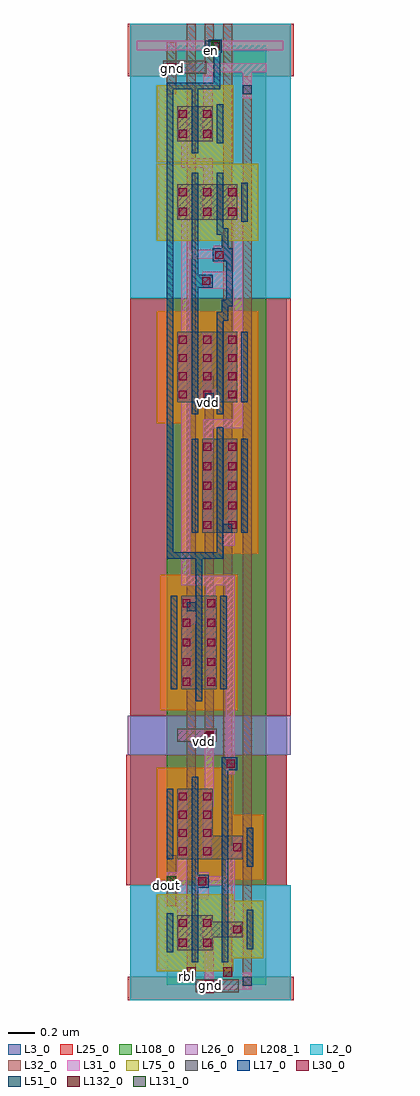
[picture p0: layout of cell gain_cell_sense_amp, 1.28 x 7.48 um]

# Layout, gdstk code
from math import pi, radians
import gdstk
lib = gdstk.Library(unit=1e-6, precision=1e-09)
def R(c, l, rs):  # rectangles x0, y0, x1, y1
    for r in rs: c.add(gdstk.rectangle(r[:2], r[2:], *l))
def A(c, l, x, y, w, h, nx, ny, dx, dy):  # array of equal rectangles
    R(c, l, [(x+i*dx, y+j*dy, x+i*dx+w, y+j*dy+h) for i in range(nx) for j in range(ny)])
L2_0 = (2, 0)
L3_0 = (3, 0)
L6_0 = (6, 0)
L17_0 = (17, 0)
L25_0 = (25, 0)
L26_0 = (26, 0)
L30_0 = (30, 0)
L31_0 = (31, 0)
L32_0 = (32, 0)
L51_0 = (51, 0)
L75_0 = (75, 0)
L108_0 = (108, 0)
L131_0 = (131, 0)
L132_0 = (132, 0)
L208_1 = (208, 1)

nch_mac_cdns_72964454724 = lib.new_cell('nch_mac_CDNS_729644547240')
R(nch_mac_cdns_72964454724, L6_0, [(-0.11,0,0,0.27), (0,0,0.05,0.27), (0.05,0,0.16,0.27)])
R(nch_mac_cdns_72964454724, L17_0, [(0,-0.09,0.05,0), (-0.19,-0.015,-0.14,0.285), (0.19,-0.015,0.24,0.285), (0,0,0.05,0.27), (0,0.27,0.05,0.36)])
R(nch_mac_cdns_72964454724, L26_0, [(-0.3,-0.2,-0.24,0.47), (-0.24,-0.2,0.29,0.47), (0.29,-0.2,0.35,0.47)])
R(nch_mac_cdns_72964454724, L30_0, [(-0.1,0.03,-0.04,0.09), (0.09,0.03,0.15,0.09), (-0.1,0.18,-0.04,0.24), (0.09,0.18,0.15,0.24)])
R(nch_mac_cdns_72964454724, L31_0, [(-0.105,0,-0.035,0.27), (0.085,0,0.155,0.27)])
R(nch_mac_cdns_72964454724, L75_0, [(-0.27,-0.16,0.32,0.43)])
R(nch_mac_cdns_72964454724, L208_1, [(-0.27,-0.16,0.32,0.43)])
nch_mac_cdns_72964454724.add(gdstk.Label('& SerialNumber 000000', (0,0), layer=63, texttype=63))
nch_mac_cdns_72964454724.add(gdstk.Label('& Distributor TSMC', (0,0), layer=63, texttype=63))
nch_mac_cdns_72964454724.add(gdstk.Label('& Metric 1', (0,0), layer=63, texttype=63))
nch_mac_cdns_72964454724.add(gdstk.Label('& PDK Version "tsmcN40_CRN40ULP_v1.5_2b_20200409"', (0,0), layer=63, texttype=63))
nch_mac_cdns_72964454724.add(gdstk.Label('& PDK TechNode "CRN40ULP"', (0,0), layer=63, texttype=63))
nch_mac_cdns_72964454724.add(gdstk.Label('& Product    tsmcN40_PDK', (0,0), layer=63, texttype=63))
nch_mac_cdns_72964454724.add(gdstk.Label('& Vendor     Taiwan Semiconductor manufacturing Corp.', (0,0), layer=63, texttype=63))
nch_mac_cdns_72964454724.add(gdstk.Label('[@instanceName]', (0.025,0.135), layer=127, texttype=0))
nch_mac_cdns_72964454724.add(gdstk.Label('0.27/0.05', (0,0), layer=127, texttype=0))
nch_mac_cdns_72964454724.add(gdstk.Label('nch_mac', (0,0.045), layer=127, texttype=0))
nch_mac_cdns_72964454724.add(gdstk.Label('D', (0.12,0.135), layer=127, texttype=0))
nch_mac_cdns_72964454724.add(gdstk.Label('S', (-0.07,0.135), layer=127, texttype=0))

pch_mac_cdns_72964454724 = lib.new_cell('pch_mac_CDNS_729644547241')
R(pch_mac_cdns_72964454724, L3_0, [(-0.27,-0.16,0.32,0.88)])
R(pch_mac_cdns_72964454724, L6_0, [(-0.11,0,0,0.72), (0,0,0.05,0.72), (0.05,0,0.16,0.72)])
A(pch_mac_cdns_72964454724, L17_0, -0.19, 0, 0.05, 0.72, 3, 1, 0.19, 0)
R(pch_mac_cdns_72964454724, L17_0, [(0,-0.09,0.05,0), (0,0.72,0.05,0.81)])
R(pch_mac_cdns_72964454724, L25_0, [(-0.3,-0.2,-0.24,0.92), (-0.24,-0.2,0.29,0.92), (0.29,-0.2,0.35,0.92)])
A(pch_mac_cdns_72964454724, L30_0, -0.1, 0.03, 0.06, 0.06, 1, 5, 0, 0.15)
A(pch_mac_cdns_72964454724, L30_0, 0.09, 0.03, 0.06, 0.06, 1, 5, 0, 0.15)
R(pch_mac_cdns_72964454724, L31_0, [(-0.105,0,-0.035,0.72), (0.085,0,0.155,0.72)])
R(pch_mac_cdns_72964454724, L208_1, [(-0.27,-0.16,0.32,0.88)])
pch_mac_cdns_72964454724.add(gdstk.Label('& SerialNumber 000000', (0,0), layer=63, texttype=63))
pch_mac_cdns_72964454724.add(gdstk.Label('& Distributor TSMC', (0,0), layer=63, texttype=63))
pch_mac_cdns_72964454724.add(gdstk.Label('& Metric 1', (0,0), layer=63, texttype=63))
pch_mac_cdns_72964454724.add(gdstk.Label('& PDK Version "tsmcN40_CRN40ULP_v1.5_2b_20200409"', (0,0), layer=63, texttype=63))
pch_mac_cdns_72964454724.add(gdstk.Label('& PDK TechNode "CRN40ULP"', (0,0), layer=63, texttype=63))
pch_mac_cdns_72964454724.add(gdstk.Label('& Product    tsmcN40_PDK', (0,0), layer=63, texttype=63))
pch_mac_cdns_72964454724.add(gdstk.Label('& Vendor     Taiwan Semiconductor manufacturing Corp.', (0,0), layer=63, texttype=63))
pch_mac_cdns_72964454724.add(gdstk.Label('[@instanceName]', (0.025,0.36), layer=127, texttype=0))
pch_mac_cdns_72964454724.add(gdstk.Label('0.72/0.05', (0,0), layer=127, texttype=0))
pch_mac_cdns_72964454724.add(gdstk.Label('pch_mac', (0,0.045), layer=127, texttype=0))
pch_mac_cdns_72964454724.add(gdstk.Label('D', (0.12,0.36), layer=127, texttype=0))
pch_mac_cdns_72964454724.add(gdstk.Label('S', (-0.07,0.36), layer=127, texttype=0))

c_pch_mac_cdns_72964454724 = lib.new_cell('pch_mac_CDNS_729644547242')
R(c_pch_mac_cdns_72964454724, L3_0, [(-0.27,-0.16,0.32,0.7)])
R(c_pch_mac_cdns_72964454724, L6_0, [(-0.11,0,0,0.54), (0,0,0.05,0.54), (0.05,0,0.16,0.54)])
R(c_pch_mac_cdns_72964454724, L17_0, [(0,-0.09,0.05,0), (0,0,0.05,0.54), (0.19,0,0.24,0.54), (0,0.54,0.05,0.63)])
R(c_pch_mac_cdns_72964454724, L25_0, [(-0.24,-0.2,0.29,0.74), (0.29,-0.2,0.35,0.74)])
A(c_pch_mac_cdns_72964454724, L30_0, -0.1, 0.03, 0.06, 0.06, 1, 4, 0, 0.14)
A(c_pch_mac_cdns_72964454724, L30_0, 0.09, 0.03, 0.06, 0.06, 1, 4, 0, 0.14)
R(c_pch_mac_cdns_72964454724, L31_0, [(-0.105,0,-0.035,0.54), (0.085,0,0.155,0.54)])
R(c_pch_mac_cdns_72964454724, L208_1, [(-0.27,-0.16,0.32,0.7)])
c_pch_mac_cdns_72964454724.add(gdstk.Label('& SerialNumber 000000', (0,0), layer=63, texttype=63))
c_pch_mac_cdns_72964454724.add(gdstk.Label('& Distributor TSMC', (0,0), layer=63, texttype=63))
c_pch_mac_cdns_72964454724.add(gdstk.Label('& Metric 1', (0,0), layer=63, texttype=63))
c_pch_mac_cdns_72964454724.add(gdstk.Label('& PDK Version "tsmcN40_CRN40ULP_v1.5_2b_20200409"', (0,0), layer=63, texttype=63))
c_pch_mac_cdns_72964454724.add(gdstk.Label('& PDK TechNode "CRN40ULP"', (0,0), layer=63, texttype=63))
c_pch_mac_cdns_72964454724.add(gdstk.Label('& Product    tsmcN40_PDK', (0,0), layer=63, texttype=63))
c_pch_mac_cdns_72964454724.add(gdstk.Label('& Vendor     Taiwan Semiconductor manufacturing Corp.', (0,0), layer=63, texttype=63))
c_pch_mac_cdns_72964454724.add(gdstk.Label('[@instanceName]', (0.025,0.27), layer=127, texttype=0))
c_pch_mac_cdns_72964454724.add(gdstk.Label('0.54/0.05', (0,0), layer=127, texttype=0))
c_pch_mac_cdns_72964454724.add(gdstk.Label('pch_mac', (0,0.045), layer=127, texttype=0))
c_pch_mac_cdns_72964454724.add(gdstk.Label('D', (0.12,0.27), layer=127, texttype=0))
c_pch_mac_cdns_72964454724.add(gdstk.Label('S', (-0.07,0.27), layer=127, texttype=0))

c_pch_mac_cdns_72964454724_ = lib.new_cell('pch_mac_CDNS_729644547243')
R(c_pch_mac_cdns_72964454724_, L3_0, [(-0.23,-0.16,0.32,0.34)])
R(c_pch_mac_cdns_72964454724_, L6_0, [(-0.07,0,0,0.18), (0,0,0.05,0.18), (0.05,0,0.16,0.18)])
R(c_pch_mac_cdns_72964454724_, L17_0, [(0,-0.09,0.05,0), (0.19,-0.06,0.24,0.24), (0,0,0.05,0.18), (0,0.18,0.05,0.27)])
R(c_pch_mac_cdns_72964454724_, L25_0, [(-0.2,-0.2,0.29,0.38), (0.29,-0.2,0.35,0.38)])
R(c_pch_mac_cdns_72964454724_, L30_0, [(0.09,0.06,0.15,0.12)])
R(c_pch_mac_cdns_72964454724_, L31_0, [(0.085,0,0.155,0.18)])
R(c_pch_mac_cdns_72964454724_, L208_1, [(-0.23,-0.16,0.32,0.34)])
c_pch_mac_cdns_72964454724_.add(gdstk.Label('& SerialNumber 000000', (0,0), layer=63, texttype=63))
c_pch_mac_cdns_72964454724_.add(gdstk.Label('& Distributor TSMC', (0,0), layer=63, texttype=63))
c_pch_mac_cdns_72964454724_.add(gdstk.Label('& Metric 1', (0,0), layer=63, texttype=63))
c_pch_mac_cdns_72964454724_.add(gdstk.Label('& PDK Version "tsmcN40_CRN40ULP_v1.5_2b_20200409"', (0,0), layer=63, texttype=63))
c_pch_mac_cdns_72964454724_.add(gdstk.Label('& PDK TechNode "CRN40ULP"', (0,0), layer=63, texttype=63))
c_pch_mac_cdns_72964454724_.add(gdstk.Label('& Product    tsmcN40_PDK', (0,0), layer=63, texttype=63))
c_pch_mac_cdns_72964454724_.add(gdstk.Label('& Vendor     Taiwan Semiconductor manufacturing Corp.', (0,0), layer=63, texttype=63))
c_pch_mac_cdns_72964454724_.add(gdstk.Label('[@instanceName]', (0.025,0.09), layer=127, texttype=0))
c_pch_mac_cdns_72964454724_.add(gdstk.Label('0.18/0.05', (0,0), layer=127, texttype=0))
c_pch_mac_cdns_72964454724_.add(gdstk.Label('pch_mac', (0,0.045), layer=127, texttype=0))
c_pch_mac_cdns_72964454724_.add(gdstk.Label('D', (0.12,0.09), layer=127, texttype=0))

c_nch_mac_cdns_72964454724 = lib.new_cell('nch_mac_CDNS_729644547244')
R(c_nch_mac_cdns_72964454724, L6_0, [(-0.11,0,0,0.27), (0,0,0.05,0.27), (0.05,0,0.16,0.27)])
R(c_nch_mac_cdns_72964454724, L17_0, [(0,-0.09,0.05,0), (0.19,-0.015,0.24,0.285), (0,0,0.05,0.27), (0,0.27,0.05,0.36)])
R(c_nch_mac_cdns_72964454724, L26_0, [(-0.24,-0.2,0.29,0.47), (0.29,-0.2,0.35,0.47)])
R(c_nch_mac_cdns_72964454724, L30_0, [(-0.1,0.03,-0.04,0.09), (0.09,0.03,0.15,0.09), (-0.1,0.18,-0.04,0.24), (0.09,0.18,0.15,0.24)])
R(c_nch_mac_cdns_72964454724, L31_0, [(-0.105,0,-0.035,0.27), (0.085,0,0.155,0.27)])
R(c_nch_mac_cdns_72964454724, L75_0, [(-0.27,-0.16,0.32,0.43)])
R(c_nch_mac_cdns_72964454724, L208_1, [(-0.27,-0.16,0.32,0.43)])
c_nch_mac_cdns_72964454724.add(gdstk.Label('& SerialNumber 000000', (0,0), layer=63, texttype=63))
c_nch_mac_cdns_72964454724.add(gdstk.Label('& Distributor TSMC', (0,0), layer=63, texttype=63))
c_nch_mac_cdns_72964454724.add(gdstk.Label('& Metric 1', (0,0), layer=63, texttype=63))
c_nch_mac_cdns_72964454724.add(gdstk.Label('& PDK Version "tsmcN40_CRN40ULP_v1.5_2b_20200409"', (0,0), layer=63, texttype=63))
c_nch_mac_cdns_72964454724.add(gdstk.Label('& PDK TechNode "CRN40ULP"', (0,0), layer=63, texttype=63))
c_nch_mac_cdns_72964454724.add(gdstk.Label('& Product    tsmcN40_PDK', (0,0), layer=63, texttype=63))
c_nch_mac_cdns_72964454724.add(gdstk.Label('& Vendor     Taiwan Semiconductor manufacturing Corp.', (0,0), layer=63, texttype=63))
c_nch_mac_cdns_72964454724.add(gdstk.Label('[@instanceName]', (0.025,0.135), layer=127, texttype=0))
c_nch_mac_cdns_72964454724.add(gdstk.Label('0.27/0.05', (0,0), layer=127, texttype=0))
c_nch_mac_cdns_72964454724.add(gdstk.Label('nch_mac', (0,0.045), layer=127, texttype=0))
c_nch_mac_cdns_72964454724.add(gdstk.Label('D', (0.12,0.135), layer=127, texttype=0))
c_nch_mac_cdns_72964454724.add(gdstk.Label('S', (-0.07,0.135), layer=127, texttype=0))

c_nch_mac_cdns_72964454724_ = lib.new_cell('nch_mac_CDNS_729644547245')
R(c_nch_mac_cdns_72964454724_, L6_0, [(-0.07,0,0,0.12), (0,0,0.05,0.12), (0.05,0,0.16,0.12)])
R(c_nch_mac_cdns_72964454724_, L17_0, [(0,-0.09,0.05,0), (0.19,-0.09,0.24,0.21), (0,0,0.05,0.12), (0,0.12,0.05,0.21)])
R(c_nch_mac_cdns_72964454724_, L26_0, [(-0.2,-0.2,0.29,0.32), (0.29,-0.2,0.35,0.32)])
R(c_nch_mac_cdns_72964454724_, L30_0, [(0.09,0.03,0.15,0.09)])
R(c_nch_mac_cdns_72964454724_, L31_0, [(0.085,0,0.155,0.12)])
R(c_nch_mac_cdns_72964454724_, L75_0, [(-0.23,-0.16,0.32,0.28)])
R(c_nch_mac_cdns_72964454724_, L208_1, [(-0.23,-0.16,0.32,0.28)])
c_nch_mac_cdns_72964454724_.add(gdstk.Label('& SerialNumber 000000', (0,0), layer=63, texttype=63))
c_nch_mac_cdns_72964454724_.add(gdstk.Label('& Distributor TSMC', (0,0), layer=63, texttype=63))
c_nch_mac_cdns_72964454724_.add(gdstk.Label('& Metric 1', (0,0), layer=63, texttype=63))
c_nch_mac_cdns_72964454724_.add(gdstk.Label('& PDK Version "tsmcN40_CRN40ULP_v1.5_2b_20200409"', (0,0), layer=63, texttype=63))
c_nch_mac_cdns_72964454724_.add(gdstk.Label('& PDK TechNode "CRN40ULP"', (0,0), layer=63, texttype=63))
c_nch_mac_cdns_72964454724_.add(gdstk.Label('& Product    tsmcN40_PDK', (0,0), layer=63, texttype=63))
c_nch_mac_cdns_72964454724_.add(gdstk.Label('& Vendor     Taiwan Semiconductor manufacturing Corp.', (0,0), layer=63, texttype=63))
c_nch_mac_cdns_72964454724_.add(gdstk.Label('[@instanceName]', (0.025,0.06), layer=127, texttype=0))
c_nch_mac_cdns_72964454724_.add(gdstk.Label('0.12/0.05', (0,0), layer=127, texttype=0))
c_nch_mac_cdns_72964454724_.add(gdstk.Label('nch_mac', (0,0.045), layer=127, texttype=0))
c_nch_mac_cdns_72964454724_.add(gdstk.Label('D', (0.12,0.06), layer=127, texttype=0))

c_nch_mac_cdns_72964454724__ = lib.new_cell('nch_mac_CDNS_729644547246')
R(c_nch_mac_cdns_72964454724__, L6_0, [(-0.03,0,0,0.27), (0,0,0.05,0.27), (0.05,0,0.16,0.27)])
R(c_nch_mac_cdns_72964454724__, L17_0, [(0,-0.09,0.05,0), (0.19,-0.015,0.24,0.285), (0,0,0.05,0.27), (0,0.27,0.05,0.36)])
R(c_nch_mac_cdns_72964454724__, L26_0, [(-0.16,-0.2,0.29,0.47), (0.29,-0.2,0.35,0.47)])
R(c_nch_mac_cdns_72964454724__, L30_0, [(0.09,0.03,0.15,0.09), (0.09,0.18,0.15,0.24)])
R(c_nch_mac_cdns_72964454724__, L31_0, [(0.085,0,0.155,0.27)])
R(c_nch_mac_cdns_72964454724__, L75_0, [(-0.19,-0.16,0.32,0.43)])
R(c_nch_mac_cdns_72964454724__, L208_1, [(-0.19,-0.16,0.32,0.43)])
c_nch_mac_cdns_72964454724__.add(gdstk.Label('& SerialNumber 000000', (0,0), layer=63, texttype=63))
c_nch_mac_cdns_72964454724__.add(gdstk.Label('& Distributor TSMC', (0,0), layer=63, texttype=63))
c_nch_mac_cdns_72964454724__.add(gdstk.Label('& Metric 1', (0,0), layer=63, texttype=63))
c_nch_mac_cdns_72964454724__.add(gdstk.Label('& PDK Version "tsmcN40_CRN40ULP_v1.5_2b_20200409"', (0,0), layer=63, texttype=63))
c_nch_mac_cdns_72964454724__.add(gdstk.Label('& PDK TechNode "CRN40ULP"', (0,0), layer=63, texttype=63))
c_nch_mac_cdns_72964454724__.add(gdstk.Label('& Product    tsmcN40_PDK', (0,0), layer=63, texttype=63))
c_nch_mac_cdns_72964454724__.add(gdstk.Label('& Vendor     Taiwan Semiconductor manufacturing Corp.', (0,0), layer=63, texttype=63))
c_nch_mac_cdns_72964454724__.add(gdstk.Label('[@instanceName]', (0.025,0.135), layer=127, texttype=0))
c_nch_mac_cdns_72964454724__.add(gdstk.Label('0.27/0.05', (0,0), layer=127, texttype=0))
c_nch_mac_cdns_72964454724__.add(gdstk.Label('nch_mac', (0,0.045), layer=127, texttype=0))
c_nch_mac_cdns_72964454724__.add(gdstk.Label('D', (0.12,0.135), layer=127, texttype=0))

c_pch_mac_cdns_72964454724__ = lib.new_cell('pch_mac_CDNS_729644547247')
R(c_pch_mac_cdns_72964454724__, L3_0, [(-0.19,-0.16,0.32,0.7)])
R(c_pch_mac_cdns_72964454724__, L6_0, [(-0.03,0,0,0.54), (0,0,0.05,0.54), (0.05,0,0.16,0.54)])
R(c_pch_mac_cdns_72964454724__, L17_0, [(0,-0.09,0.05,0), (0,0,0.05,0.54), (0.19,0,0.24,0.54), (0,0.54,0.05,0.63)])
R(c_pch_mac_cdns_72964454724__, L25_0, [(-0.16,-0.2,0.29,0.74), (0.29,-0.2,0.35,0.74)])
A(c_pch_mac_cdns_72964454724__, L30_0, 0.09, 0.03, 0.06, 0.06, 1, 4, 0, 0.14)
R(c_pch_mac_cdns_72964454724__, L31_0, [(0.085,0,0.155,0.54)])
R(c_pch_mac_cdns_72964454724__, L208_1, [(-0.19,-0.16,0.32,0.7)])
c_pch_mac_cdns_72964454724__.add(gdstk.Label('& SerialNumber 000000', (0,0), layer=63, texttype=63))
c_pch_mac_cdns_72964454724__.add(gdstk.Label('& Distributor TSMC', (0,0), layer=63, texttype=63))
c_pch_mac_cdns_72964454724__.add(gdstk.Label('& Metric 1', (0,0), layer=63, texttype=63))
c_pch_mac_cdns_72964454724__.add(gdstk.Label('& PDK Version "tsmcN40_CRN40ULP_v1.5_2b_20200409"', (0,0), layer=63, texttype=63))
c_pch_mac_cdns_72964454724__.add(gdstk.Label('& PDK TechNode "CRN40ULP"', (0,0), layer=63, texttype=63))
c_pch_mac_cdns_72964454724__.add(gdstk.Label('& Product    tsmcN40_PDK', (0,0), layer=63, texttype=63))
c_pch_mac_cdns_72964454724__.add(gdstk.Label('& Vendor     Taiwan Semiconductor manufacturing Corp.', (0,0), layer=63, texttype=63))
c_pch_mac_cdns_72964454724__.add(gdstk.Label('[@instanceName]', (0.025,0.27), layer=127, texttype=0))
c_pch_mac_cdns_72964454724__.add(gdstk.Label('0.54/0.05', (0,0), layer=127, texttype=0))
c_pch_mac_cdns_72964454724__.add(gdstk.Label('pch_mac', (0,0.045), layer=127, texttype=0))
c_pch_mac_cdns_72964454724__.add(gdstk.Label('D', (0.12,0.27), layer=127, texttype=0))

gain_cell_sense_amp = lib.new_cell('gain_cell_sense_amp')
R(gain_cell_sense_amp, L2_0, [(-0.28,-0.08,0.95,0.8), (-0.28,5.3,0.95,7.4)])
R(gain_cell_sense_amp, L3_0, [(-0.28,0.8,0.92,5.3), (-0.28,0.9,0.92,5.15)])
R(gain_cell_sense_amp, L6_0, [(0.22,-0.02,0.55,0.08), (0.08,1.9,0.38,2), (-0.03,7.02,0.3,7.12)])
R(gain_cell_sense_amp, L17_0, [(0.42,0.21,0.47,0.55), (0.42,0.6,0.47,0.95), (0.22,0.78,0.32,0.88), (0.42,1.2,0.47,1.7), (0.42,1.68,0.54,1.78), (0.22,3.1,0.27,3.3), (0,3.3,0.05,6.3), (0.05,3.3,0.4,3.35), (0.38,3.3,0.43,3.5), (0.25,5.38,0.35,5.48), (0.35,5.58,0.45,5.68), (0.17,6.9,0.39,6.95), (0.36,6.9,0.41,7.26), (0.32,7.18,0.42,7.28)])
R(gain_cell_sense_amp, L25_0, [(-0.3,-0.08,0.97,0.1), (-0.31,0.8,0.79,1.8), (0.79,0.8,0.92,1.8), (-0.28,2.1,-0.08,3.12), (-0.28,2.1,-0.08,3.11), (-0.08,2.1,0.72,5.2), (0.72,2.1,0.95,5.3), (-0.28,3.1,0.77,5.3), (-0.3,7,0.97,7.4)])
R(gain_cell_sense_amp, L26_0, [(-0.28,0.1,0.59,0.2), (0.59,0.1,0.95,0.2), (-0.28,0.2,0.82,0.8), (0.82,0.2,0.95,0.8), (-0.3,1.8,0.94,2.1), (0.82,1.8,0.95,2.1), (-0.28,5.3,0.67,7), (0.67,5.3,0.95,7)])
R(gain_cell_sense_amp, L30_0, [(0.3,0,0.36,0.06), (0.24,0.8,0.3,0.86), (0.46,1.7,0.52,1.76), (0.3,1.92,0.36,1.98), (0.27,5.4,0.33,5.46), (0.37,5.6,0.43,5.66), (0.01,7.04,0.07,7.1), (0.34,7.2,0.4,7.26)])
R(gain_cell_sense_amp, L31_0, [(0.22,0,0.65,0.07), (0.29,0,0.42,0.07), (0.29,0,0.36,0.4), (0.45,0.4,0.52,1.1), (0.08,0.5,0.15,1.4), (0.22,0.7,0.32,0.9), (0,0.77,0.07,0.9), (0.07,0.77,0.08,0.9), (0.22,0.8,0.52,0.87), (0.29,1.4,0.36,2), (0.45,1.65,0.52,3.1), (0.08,1.9,0.38,2), (0.12,2.8,0.22,3.02), (0.3,2.8,0.37,3.1), (0.11,3.1,0.18,6.1), (0.13,3.1,0.52,3.17), (0.42,3.4,0.52,3.6), (0.28,4.1,0.35,4.3), (0.28,4.3,0.53,4.37), (0.51,4.3,0.58,6.1), (0.25,4.47,0.38,4.6), (0.29,4.47,0.36,4.5), (0.4,5.37,0.5,5.5), (0.36,5.57,0.43,5.7), (0.13,5.6,0.43,5.67), (0.28,6.1,0.35,6.3), (0.28,6.2,0.35,6.3), (0.11,6.3,0.18,6.6), (0.18,6.3,0.35,6.37), (0.28,6.7,0.35,7), (0.58,6.87,0.65,6.9), (-0.03,7.03,0.45,7.1), (-0.23,7.2,0.89,7.27)])
R(gain_cell_sense_amp, L32_0, [(0.29,-0.03,0.36,0.37), (0.15,0.1,0.22,2.1), (0.15,0.1,0.22,0.17), (0.43,0.1,0.5,7.4), (0.43,0.1,0.5,0.17), (0,0.64,0.07,1.03), (0.29,1.87,0.36,4.57), (0.43,3.47,0.5,3.6), (0.58,3.87,0.65,7), (0.29,4.5,0.36,4.7), (0,6.86,0.07,7.26), (0.29,7,0.36,7.4), (0,7.03,0.07,7.1), (0.29,7.2,0.36,7.27)])
R(gain_cell_sense_amp, L51_0, [(0.29,0,0.36,0.07), (0.58,0.03,0.65,0.1), (0,0.8,0.07,0.87), (0.29,1.9,0.36,1.97), (0.15,2.9,0.22,2.97), (0.43,3.5,0.5,3.57), (0.29,4.5,0.36,4.57), (0.58,6.86,0.65,6.93), (0,7.03,0.07,7.1), (0.29,7.2,0.36,7.27)])
R(gain_cell_sense_amp, L108_0, [(0,0.035,0.76,7.235)])
R(gain_cell_sense_amp, L131_0, [(0,0.8,0.07,0.87), (0.34,7.2,0.41,7.27)])
R(gain_cell_sense_amp, L132_0, [(0.29,0,0.36,0.07), (0.15,0.1,0.22,0.17), (0.43,0.1,0.5,0.17), (0,0.8,0.07,0.87), (0.29,1.9,0.36,1.97), (0,7.03,0.07,7.1)])
gain_cell_sense_amp.add(gdstk.FlexPath([(0.445,1.625),(0.445,1.755)], 0.05, ends=(0, 0.025), simple_path=True, layer=17, datatype=0))  # L17_0
gain_cell_sense_amp.add(gdstk.FlexPath([(0.025,6.67),(0.03,6.67)], 0.05, ends=(0.025, 0), simple_path=True, layer=17, datatype=0))  # L17_0
gain_cell_sense_amp.add(gdstk.FlexPath([(0.025,6.67),(0.025,6.925)], 0.05, ends="extended", simple_path=True, layer=17, datatype=0))  # L17_0
gain_cell_sense_amp.add(gdstk.FlexPath([(0.025,6.925),(0.385,6.925)], 0.05, ends="extended", simple_path=True, layer=17, datatype=0))  # L17_0
gain_cell_sense_amp.add(gdstk.FlexPath([(0.385,6.975),(0.385,6.925)], 0.05, ends=(0, 0.025), simple_path=True, layer=17, datatype=0))  # L17_0
gain_cell_sense_amp.add(gdstk.FlexPath([(0.445,5.125),(0.445,5.17)], 0.05, ends=(0, 0.025), simple_path=True, layer=17, datatype=0))  # L17_0
gain_cell_sense_amp.add(gdstk.FlexPath([(0.215,6.86),(0.215,6.9)], 0.05, ends="flush", simple_path=True, layer=17, datatype=0))  # L17_0
gain_cell_sense_amp.add(gdstk.FlexPath([(0.025,6.3),(0.025,6.67)], 0.05, ends=(0, 0.025), simple_path=True, layer=17, datatype=0))  # L17_0
gain_cell_sense_amp.add(gdstk.FlexPath([(0.385,6.925),(0.39,6.925)], 0.05, ends=(0.025, 0), simple_path=True, layer=17, datatype=0))  # L17_0
gain_cell_sense_amp.add(gdstk.FlexPath([(0.445,5.17),(0.445,5.26)], 0.05, ends="extended", simple_path=True, layer=17, datatype=0))  # L17_0
gain_cell_sense_amp.add(gdstk.FlexPath([(0.405,5.17),(0.445,5.17)], 0.05, ends="extended", simple_path=True, layer=17, datatype=0))  # L17_0
gain_cell_sense_amp.add(gdstk.FlexPath([(0.445,5.26),(0.48,5.26)], 0.05, ends="extended", simple_path=True, layer=17, datatype=0))  # L17_0
gain_cell_sense_amp.add(gdstk.FlexPath([(0.48,5.26),(0.48,5.68)], 0.05, ends=(0.025, 0), simple_path=True, layer=17, datatype=0))  # L17_0
gain_cell_sense_amp.add(gdstk.FlexPath([(0.445,1.755),(0.44,1.755)], 0.05, ends=(0.025, 0), simple_path=True, layer=17, datatype=0))  # L17_0
gain_cell_sense_amp.add(gdstk.FlexPath([(0.25,5.43),(0.22,5.43)], 0.1, ends=(0, 0.025), simple_path=True, layer=17, datatype=0))  # L17_0
gain_cell_sense_amp.add(gdstk.FlexPath([(0.215,5.13),(0.215,5.81)], 0.05, ends="flush", simple_path=True, layer=17, datatype=0))  # L17_0
gain_cell_sense_amp.add(gdstk.FlexPath([(0.405,5.13),(0.405,5.17)], 0.05, ends=(0, 0.025), simple_path=True, layer=17, datatype=0))  # L17_0
gain_cell_sense_amp.add(gdstk.FlexPath([(0.215,0.91),(0.215,0.66)], 0.05, ends="flush", simple_path=True, layer=17, datatype=0))  # L17_0
gain_cell_sense_amp.add(gdstk.FlexPath([(0.445,5.81),(0.445,5.58)], 0.05, ends=(0.025, 0), simple_path=True, layer=17, datatype=0))  # L17_0
gain_cell_sense_amp.add(gdstk.FlexPath([(0.405,5.81),(0.445,5.81)], 0.05, ends="extended", simple_path=True, layer=17, datatype=0))  # L17_0
gain_cell_sense_amp.add(gdstk.FlexPath([(0.615,7.065),(0.76,7.065)], 0.07, ends=(0.035, 0), simple_path=True, layer=31, datatype=0))  # L31_0
gain_cell_sense_amp.add(gdstk.FlexPath([(0.615,6.87),(0.615,6.83)], 0.07, ends="flush", simple_path=True, layer=31, datatype=0))  # L31_0
gain_cell_sense_amp.add(gdstk.FlexPath([(0.5,5.435),(0.51,5.435)], 0.13, ends="flush", simple_path=True, layer=31, datatype=0))  # L31_0
gain_cell_sense_amp.add(gdstk.FlexPath([(0.315,7),(0.315,7.065)], 0.07, ends=(0, 0.035), simple_path=True, layer=31, datatype=0))  # L31_0
gain_cell_sense_amp.add(gdstk.FlexPath([(0.615,0.035),(0.615,0.13)], 0.07, ends=(0.035, 0), simple_path=True, layer=31, datatype=0))  # L31_0
gain_cell_sense_amp.add(gdstk.FlexPath([(0.615,6.9),(0.615,7.065)], 0.07, ends=(0, 0.035), simple_path=True, layer=31, datatype=0))  # L31_0
gain_cell_sense_amp.add(gdstk.FlexPath([(0.41,5.435),(0.27,5.435)], 0.13, ends="flush", simple_path=True, layer=31, datatype=0))  # L31_0
gain_cell_sense_amp.add(gdstk.FlexPath([(0.615,7.065),(0.4,7.065)], 0.07, ends=(0.035, 0), simple_path=True, layer=31, datatype=0))  # L31_0
gain_cell_sense_amp.add(gdstk.FlexPath([(0.615,3.87),(0.615,0)], 0.07, ends="flush", simple_path=True, layer=32, datatype=0))  # L32_0
gain_cell_sense_amp.add(gdstk.FlexPath([(0.49,3.535),(0.43,3.535)], 0.13, ends="flush", simple_path=True, layer=32, datatype=0))  # L32_0
gain_cell_sense_amp.add(gdstk.FlexPath([(0.185,1.635),(0.185,7.4)], 0.07, ends=(0.035, 0), simple_path=True, layer=32, datatype=0))  # L32_0
gain_cell_sense_amp.add(gdstk.Reference(nch_mac_cdns_72964454724, (0.24,6.5), rotation=pi, x_reflection=True))
gain_cell_sense_amp.add(gdstk.Reference(pch_mac_cdns_72964454724, (0.38,3.5)))
gain_cell_sense_amp.add(gdstk.Reference(pch_mac_cdns_72964454724, (0.27,2.3), rotation=pi, x_reflection=True))
gain_cell_sense_amp.add(gdstk.Reference(c_pch_mac_cdns_72964454724, (0.24,1), rotation=pi, x_reflection=True))
gain_cell_sense_amp.add(gdstk.Reference(c_pch_mac_cdns_72964454724, (0.38,4.5)))
gain_cell_sense_amp.add(gdstk.Reference(c_pch_mac_cdns_72964454724_, (0.42,1)))
gain_cell_sense_amp.add(gdstk.Reference(c_nch_mac_cdns_72964454724, (0.24,0.3), rotation=pi, x_reflection=True))
gain_cell_sense_amp.add(gdstk.Reference(c_nch_mac_cdns_72964454724, (0.24,5.9), rotation=pi, x_reflection=True))
gain_cell_sense_amp.add(gdstk.Reference(c_nch_mac_cdns_72964454724_, (0.42,0.4)))
gain_cell_sense_amp.add(gdstk.Reference(c_nch_mac_cdns_72964454724__, (0.38,5.9)))
gain_cell_sense_amp.add(gdstk.Reference(c_pch_mac_cdns_72964454724__, (0.24,4.5), rotation=pi, x_reflection=True))
gain_cell_sense_amp.add(gdstk.Label('vdd', (0.32,4.5), layer=127, texttype=0))
gain_cell_sense_amp.add(gdstk.Label('gnd', (0.04,7.06), layer=132, texttype=0))
gain_cell_sense_amp.add(gdstk.Label('vdd', (0.29,1.9), layer=132, texttype=0))
gain_cell_sense_amp.add(gdstk.Label('gnd', (0.33,0.03), layer=132, texttype=0))
gain_cell_sense_amp.add(gdstk.Label('dout', (0,0.8), layer=132, texttype=0))
gain_cell_sense_amp.add(gdstk.Label('ref', (0.43,0.1), layer=132, texttype=0))
gain_cell_sense_amp.add(gdstk.Label('rbl', (0.15,0.1), layer=132, texttype=0))
gain_cell_sense_amp.add(gdstk.Label('en', (0.34,7.2), layer=131, texttype=0))

lib.write_gds('gain_cell_sense_amp.gds')
